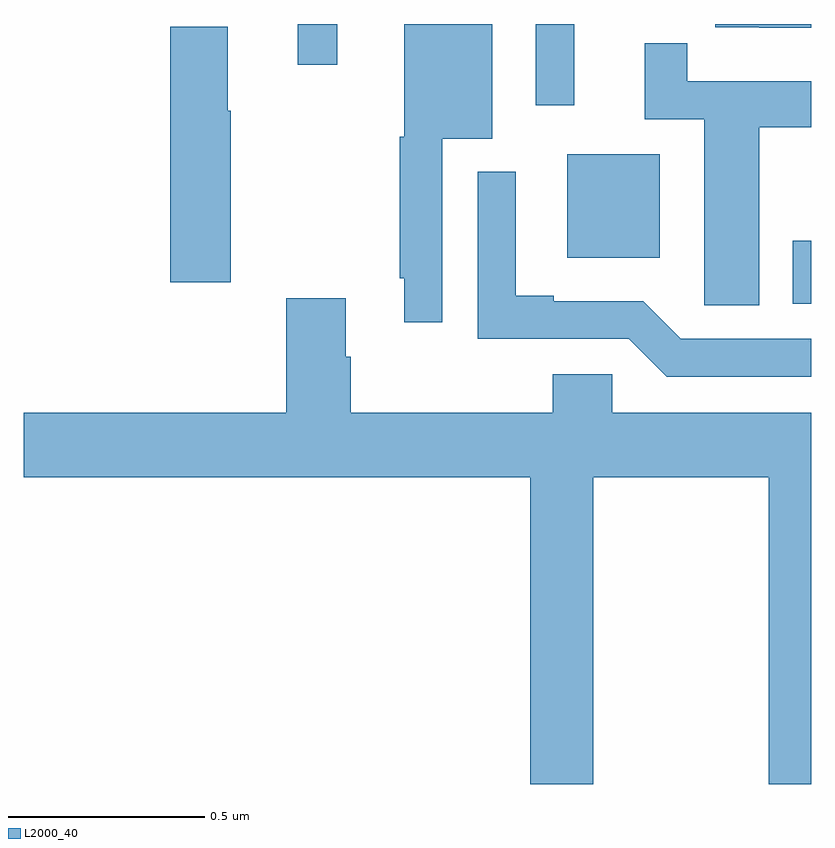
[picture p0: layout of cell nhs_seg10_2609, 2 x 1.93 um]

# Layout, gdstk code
import gdstk
lib = gdstk.Library(unit=1e-6, precision=1e-09)
def R(c, l, rs):  # rectangles x0, y0, x1, y1
    for r in rs: c.add(gdstk.rectangle(r[:2], r[2:], *l))
def P(c, l, *ps):  # polygons
    for p in ps: c.add(gdstk.Polygon(p, *l))
L2000_40 = (2000, 40)

nhs_seg10_2609 = lib.new_cell('nhs_seg10_2609')
R(nhs_seg10_2609, L2000_40, [(144.953,1268.789,145,1268.949), (144.38,1268.906,144.616,1269.169), (144.3,1269.294,144.398,1269.5), (143.696,1269.396,143.796,1269.5)])
P(nhs_seg10_2609, L2000_40, [(145,1269.5),(144.756,1269.5),(144.756,1269.492),(144.868,1269.492),(144.868,1269.491),(145,1269.491)],
  [(144.063,1269.209),(144.19,1269.209),(144.19,1269.5),(143.966,1269.5),(143.966,1269.213),(143.955,1269.213),(143.955,1268.854),(143.966,1268.854),(143.966,1268.742),(144.063,1268.742)],
  [(143.526,1269.28),(143.518,1269.28),(143.518,1269.493),(143.372,1269.493),(143.372,1268.844),(143.526,1268.844)],
  [(144.868,1269.238),(145,1269.238),(145,1269.354),(144.686,1269.354),(144.686,1269.451),(144.578,1269.451),(144.578,1269.258),(144.728,1269.258),(144.728,1268.896),(144.729,1268.896),(144.729,1268.785),(144.868,1268.785)],
  [(145,1268.7),(144.669,1268.7),(144.573,1268.796),(144.346,1268.796),(144.346,1268.809),(144.25,1268.809),(144.25,1269.124),(144.153,1269.124),(144.153,1268.7),(144.537,1268.7),(144.633,1268.604),(145,1268.604)],
  [(144.344,1268.512),(143.831,1268.512),(143.831,1268.654),(143.818,1268.654),(143.818,1268.803),(143.666,1268.803),(143.666,1268.512),(143,1268.512),(143,1268.348),(144.287,1268.348),(144.287,1267.569),(144.447,1267.569),(144.447,1268.348),(144.892,1268.348),(144.892,1267.569),(145,1267.569),(145,1268.512),(144.495,1268.512),(144.495,1268.61),(144.344,1268.61)])

lib.write_gds('nhs_seg10_2609.gds')
